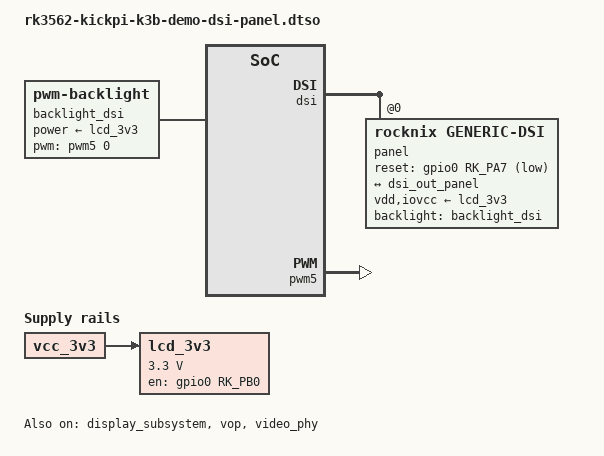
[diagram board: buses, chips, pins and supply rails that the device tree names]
// SPDX-License-Identifier: (GPL-2.0+ OR MIT)
/*
 * Copyright (c) 2026 retro98boy <retro98boy@qq.com>
 *
 * KICKPI K3B demo board file with a JD9366T-based 800x1280 DSI panel.
 * Compatible with:
 * SQ101P-X4EI451-84H501
 * YDP1010BT003-V1
 */

/dts-v1/;

/plugin/;

#include <dt-bindings/gpio/gpio.h>
#include <dt-bindings/pinctrl/rockchip.h>
#include <dt-bindings/soc/rockchip,vop2.h>

&{/} {
	/*
	 * This panel uses DC voltage (VLED) backlight dimming. Although JD9366T
	 * supports DCS brightness control, the panel vendor does not use it.
	 * The display driver board uses SY7200AABC to provide the backlight
	 * voltage. This IC supports both EN mode and PWM voltage adjustment
	 * within its specified frequency range.
	 */
	backlight_dsi: backlight-dsi0 {
		compatible = "pwm-backlight";
		/*
		 * SY7200AABC uses its EN/PWM pin in PWM dimming mode.
		 * The datasheet specifies 20 kHz to 1 MHz;
		 * 50000 ns gives 20 kHz, the lowest supported frequency. In
		 * PWM mode, the first high pulse must be longer than 200 ns.
		 */
		pwms = <&pwm5 0 50000 0>;
		power-supply = <&lcd_3v3>;
		/*
		 * At 20 kHz, the PWM period is 50000 ns. The lowest non-zero
		 * brightness level is 2/255, giving about 392 ns high time,
		 * which satisfies SY7200AABC's first-pulse requirement (>200 ns).
		 * Keep the lowest non-zero level at 2 or higher; 1/255 is only
		 * about 196 ns and may fail to start the LED driver reliably.
		 */
		brightness-levels = <
			  2   2   2   2   2   2   2   2
			  3   3   3   3   3   4   4   4
			  4   5   5   5   6   6   6   7
			  7   8   8   9   9  10  11  12
			 13  14  15  16  17  18  19  20
			 21  22  23  24  25  26  27  28
			 29  30  31  32  33  34  35  36
			 37  38  39  40  41  42  43  44
			 45  46  47  48  49  50  51  52
			 53  54  55  56  57  58  59  60
			 61  62  63  64  65  66  67  68
			 69  70  71  72  73  74  75  76
			 77  78  79  80  81  82  83  84
			 85  86  87  88  89  90  91  92
			 93  94  95  96  97  98  99 100
			101 102 103 104 105 106 107 108
			109 110 111 112 113 114 115 116
			117 118 119 120 121 122 123 124
			125 126 127 128 129 130 131 132
			133 134 135 136 137 138 139 140
			141 142 143 144 145 146 147 148
			149 150 151 152 153 154 155 156
			157 158 159 160 161 162 163 164
			165 166 167 168 169 170 171 172
			173 174 175 176 177 178 179 180
			181 182 183 184 185 186 187 188
			189 190 191 192 193 194 195 196
			197 198 199 200 201 202 203 204
			205 206 207 208 209 210 211 212
			213 214 215 216 217 218 219 220
			221 222 223 224 225 226 227 228
			229 230 231 232 233 234 235 236
			237 238 239 240 241 242 243 244
			245 246 247 248 249 250 251 252
			253 254 255
		>;
		default-brightness-level = <200>;
	};

	lcd_3v3: regulator-lcd-3v3 {
		compatible = "regulator-fixed";
		enable-active-high;
		gpio = <&gpio0 RK_PB0 GPIO_ACTIVE_HIGH>;
		pinctrl-names = "default";
		pinctrl-0 = <&lcd_3v3_pin>;
		regulator-min-microvolt = <3300000>;
		regulator-max-microvolt = <3300000>;
		regulator-name = "lcd_3v3";
		/*
		 * When using this DTS in the Rockchip Android SDK, keep both
		 * regulator-boot-on and regulator-always-on enabled. U-Boot also
		 * drives the display; without them, lcd_3v3 may be disabled for a
		 * period during the U-Boot-to-Linux handoff, which can cause the
		 * subsequent SY7200AABC Linux PWM dimming to fail.
		 */
		regulator-always-on;
		regulator-boot-on;
		vin-supply = <&vcc_3v3>;
	};
};

&display_subsystem {
	status = "okay";
};

&dsi {
	#address-cells = <1>;
	#size-cells = <0>;
	status = "okay";

	panel@0 {
		compatible = "rocknix,generic-dsi";
		reg = <0>;
		pinctrl-names = "default";
		pinctrl-0 = <&lcd_reset_pin>;
		backlight = <&backlight_dsi>;
		reset-gpios = <&gpio0 RK_PA7 GPIO_ACTIVE_LOW>;
		vdd-supply = <&lcd_3v3>;
		iovcc-supply = <&lcd_3v3>;

		panel_description =
			"G size=135,216 delays=120,120,120,120,0 format=rgb888 lanes=4 flags=0xa03",
			"M clock=76107 horizontal=800,40,8,28 vertical=1280,140,8,20 default=1",
			"I seq=3001",
			"I seq=7849610200",
			"I seq=3002",
			"I seq=3112",
			"I seq=3208",
			"I seq=333f",
			"I seq=3c04",
			"I seq=3d78",
			"I seq=3e43",
			"I seq=3f30",
			"I seq=42a2",
			"I seq=43f0",
			"I seq=4401",
			"I seq=4617",
			"I seq=49c0",
			"I seq=6d30",
			"I seq=6e21",
			"I seq=415b5b03035b5b020203030303",
			"I seq=5a0000343431312323242423",
			"I seq=5b230b0b09090f0f0d0d0606",
			"I seq=5c0000343431312323242423",
			"I seq=5d230a0a08080e0e0c0c0505",
			"I seq=5e0000313134342323242423",
			"I seq=5f230c0c0e0e08080a0a0505",
			"I seq=600000313134342323242423",
			"I seq=61230d0d0f0f09090b0b0606",
			"I seq=64ffff3f",
			"I seq=65ffff3f",
			"I seq=6f030000",
			"I seq=70030000",
			"I seq=71000080",
			"I seq=72000000",
			"I seq=4c2222",
			"I seq=732a",
			"I seq=4e0000",
			"I seq=500000",
			"I seq=55ffff",
			"I seq=56ffff",
			"I seq=570000",
			"I seq=58ffff",
			"I seq=66ffff",
			"I seq=67ffff",
			"I seq=4a3f",
			"I seq=3008",
			"I seq=3165",
			"I seq=3305",
			"I seq=4050",
			"I seq=4180",
			"I seq=421a",
			"I seq=470a",
			"I seq=480d",
			"I seq=5017",
			"I seq=5a20",
			"I seq=5b00",
			"I seq=5c53",
			"I seq=6204",
			"I seq=655f",
			"I seq=7301",
			"I seq=300a",
			"I seq=32ff",
			"I seq=3328",
			"I seq=3f53",
			"I seq=4015",
			"I seq=4720",
			"I seq=4880",
			"I seq=4903",
			"I seq=300b",
			"I seq=33003d",
			"I seq=3c00bf",
			"I seq=43b1",
			"I seq=4431",
			"I seq=3e00101e272f",
			"I seq=3f546f737c77919099a8a5aeb5c5b8",
			"I seq=405252537f00101e272f",
			"I seq=41546f737c77919899a8a5aeb5c5b8",
			"I seq=425252537f",
			"I seq=4570",
			"I seq=463b",
			"I seq=487c",
			"I seq=491e",
			"I seq=4a3a",
			"I seq=300c",
			"I seq=3262",
			"I seq=7177",
			"I seq=300d",
			"I seq=4c74",
			"I seq=3000",
			"I seq=3500"
			;

		ports {
			#address-cells = <1>;
			#size-cells = <0>;

			port@0 {
				reg = <0>;
				panel_in_dsi: endpoint {
					remote-endpoint = <&dsi_out_panel>;
				};
			};
		};
	};
};

&dsi_out {
	dsi_out_panel: endpoint {
		remote-endpoint = <&panel_in_dsi>;
	};
};

&dsi_in {
	dsi_in_vp0: endpoint {
		remote-endpoint = <&vp0_out_dsi>;
	};
};

&vp0 {
	#address-cells = <1>;
	#size-cells = <0>;

	vp0_out_dsi: endpoint@ROCKCHIP_VOP2_EP_MIPI0 {
		reg = <ROCKCHIP_VOP2_EP_MIPI0>;
		remote-endpoint = <&dsi_in_vp0>;
	};
};

&vop {
	status = "okay";
};

&vop_mmu {
	status = "okay";
};

&video_phy {
	status = "okay";
};

&pwm5 {
	status = "okay";
};

&pinctrl {
	display {
		lcd_3v3_pin: lcd-3v3-pin {
			rockchip,pins = <0 RK_PB0 RK_FUNC_GPIO &pcfg_pull_none>;
		};

		lcd_reset_pin: lcd-reset-pin {
			rockchip,pins = <0 RK_PA7 RK_FUNC_GPIO &pcfg_pull_none>;
		};
	};
};
